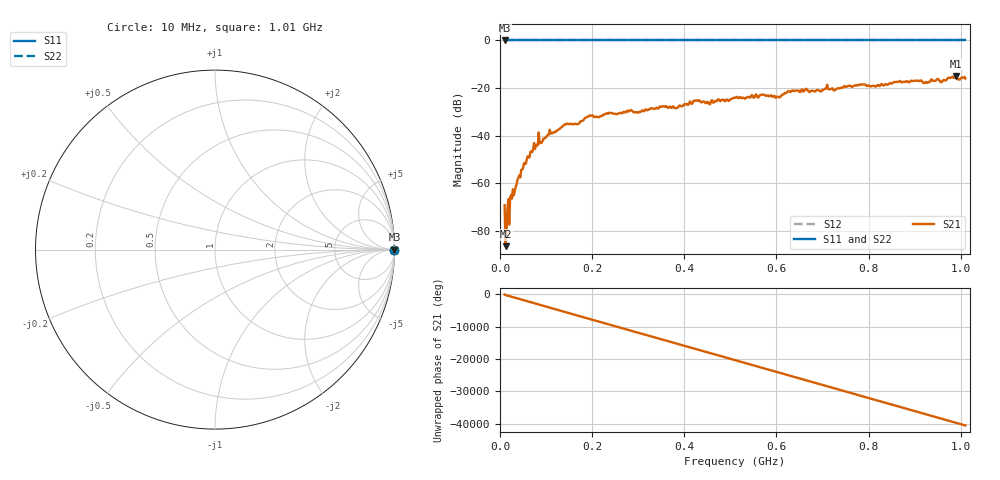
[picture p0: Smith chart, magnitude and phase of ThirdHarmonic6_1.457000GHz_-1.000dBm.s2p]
! 8/16/2025 4:55:35 PM
! C:\ANRITSUVNA\TEMP\TEMP.S2P
! CHANNEL.1
! TR.MEASUREMENT
! RAW.DATA
! RF.CORRECTION.OFF
! AVERAGING.OFF
! IF.BANDWIDTH: 5KHZ
! SWEEPTYPE:  FREQ.SWEEP(Linear)
! Reference Plane Port Info
! PORT:  PORT1  PORT2
! DISTANCE:  0  m  0  m
! TIME:  0  s  0  s
! PHASE.OFFSET:  0  deg.  0  deg.
! LOSS:  0  dB  0  dB
! REF.LOSS:  0  dB  0  dB
! REF.FREQ:  0  Hz  0  Hz
! Power Info
! POWER:  -20  dBm  -20  dBm
! EFF.POWER:  -20  dBm  -20  dBm
! SOURCE.ATTEN:  0  dB  0  dB
! TEST.ATTEN:  0  dB  0  dB
# GHZ S RI R 50.0
! FREQ.GHZ  S11RE  S11IM  S21RE  S21IM  S12RE  S12IM  S22RE  S22IM
!; PortSelection: Port_12
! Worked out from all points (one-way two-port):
!   501 points, 10 MHz to 1.01 GHz, reference 50 ohm
!   highest |S21| = -14.88 dB at 990 MHz (marker M1); lowest = -86.4 dB at 12 MHz (marker M2)
!   lowest |S11| = 0.0 dB at 10 MHz (marker M3)
!   |S11| at or under -10 dB: nowhere
!   |S22| runs from 0.0 to 0.0 dB; largest |S21 - S12| = 1.2
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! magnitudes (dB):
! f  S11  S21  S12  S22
! 10 MHz  0.0  -69.2  0.0  0.0
! 12 MHz  0.0  -86.4  0.0  0.0
! 14 MHz  0.0  -81.2  0.0  0.0
! 16 MHz  0.0  -71.3  0.0  0.0
! 20 MHz  0.0  -77.3  0.0  0.0
! 26 MHz  0.0  -66.4  0.0  0.0
! 50 MHz  0.0  -53.6  0.0  0.0
! 80 MHz  0.0  -43.8  0.0  0.0
! 142 MHz  0.0  -35.3  0.0  0.0
! 178 MHz  0.0  -33.9  0.0  0.0
! 196 MHz  0.0  -31.7  0.0  0.0
! 344 MHz  0.0  -28.6  0.0  0.0
! 382 MHz  0.0  -28.4  0.0  0.0
! 424 MHz  0.0  -25.2  0.0  0.0
! 452 MHz  0.0  -26.1  0.0  0.0
! 510 MHz  0.0  -24.1  0.0  0.0
! 602 MHz  0.0  -23.5  0.0  0.0
! 630 MHz  0.0  -21.7  0.0  0.0
! 678 MHz  0.0  -21.1  0.0  0.0
! 844 MHz  0.0  -18.2  0.0  0.0
! 990 MHz  0.0  -14.9  0.0  0.0
! 1.01 GHz  0.0  -16.0  0.0  0.0
